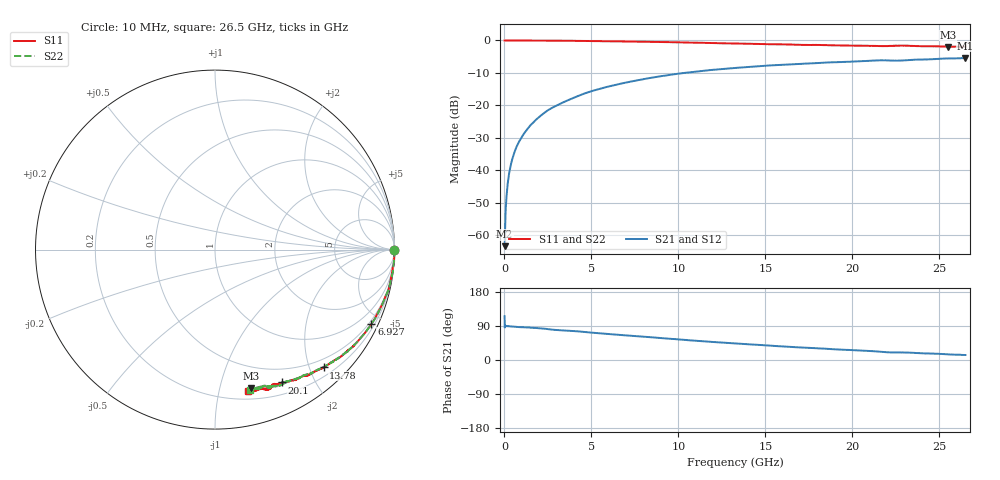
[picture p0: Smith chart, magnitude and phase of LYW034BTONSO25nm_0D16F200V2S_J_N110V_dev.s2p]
!Keysight Technologies,N5222B,MY61253708,A.15.00.15
!Date: Wednesday, June 19, 2024 09:44:08
!Correction: S11(C  2-Port  )
!S21(C  2-Port  )
!S12(C  2-Port  )
!S22(C  2-Port  )
!S2P File: Measurements: S11, S21, S12, S22:
# Hz S  RI  R 50
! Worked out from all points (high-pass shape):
!   2651 points, 10 MHz to 26.5 GHz, reference 50 ohm
!   highest |S21| = -5.39 dB at 26.5 GHz (marker M1); lowest = -63.4 dB at 10 MHz (marker M2)
!   |S21| within 3 dB of the highest: 13.45 GHz to end of sweep
!   lowest |S11| = -2.0 dB at 25.5 GHz (marker M3), VSWR 8.88, Z = 14.7 - j62.5 ohm
!   |S11| at or under -10 dB: nowhere
!   |S22| runs from -1.9 to 0.0 dB; largest |S21 - S12| = 0.0065
!   S11 on the Smith chart (normalised r, x): 10 MHz: open; 6.927 GHz: 0.36, -4.40; 13.78 GHz: 0.35, -2.24; 20.1 GHz: 0.33, -1.58; 26.5 GHz: 0.27, -1.22
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1e7  0.9988 -0.00248  -0.000291 0.000613  -0.00027 0.0002  0.9982 -0.00106
7.997358e7  1 -0.00575  -5.89e-06 0.00266  8e-06 0.00266  0.9994 -0.00533
1.599434e8  0.9999 -0.0114  6.1e-05 0.0053  6.72e-05 0.00533  0.9996 -0.0108
1.999283e8  1 -0.0136  0.000104 0.0066  9.86e-05 0.00666  0.9997 -0.013
2.699019e8  0.9998 -0.0184  0.000182 0.00899  0.000179 0.00897  0.9999 -0.0177
3.698642e8  0.9997 -0.0255  0.000345 0.0123  0.000337 0.0123  0.9992 -0.0247
4.998151e8  0.999 -0.0339  0.000564 0.0165  0.000578 0.0167  0.9992 -0.0328
6.597547e8  0.9984 -0.0437  0.000914 0.0217  0.000923 0.0219  0.9985 -0.0431
8.49683e8  0.9981 -0.0565  0.00153 0.0279  0.00157 0.0282  0.9979 -0.0564
1.459453e9  0.9907 -0.0981  0.00363 0.0482  0.00367 0.0485  0.993 -0.0945
2.339121e9  0.9819 -0.1521  0.0101 0.078  0.0103 0.0786  0.9828 -0.1528
3.208792e9  0.9707 -0.2076  0.0212 0.104  0.0214 0.1047  0.9704 -0.2073
4.428332e9  0.9425 -0.2805  0.0385 0.1416  0.039 0.1425  0.9438 -0.2784
6.927389e9  0.8715 -0.4146  0.094 0.2022  0.0953 0.2031  0.872 -0.4144
8.846664e9  0.8029 -0.502  0.1452 0.2366  0.1469 0.2373  0.8033 -0.5013
1.3255e10  0.6268 -0.642  0.2725 0.2606  0.275 0.2604  0.629 -0.6411
1.37848e10  0.6048 -0.6567  0.2873 0.2588  0.2891 0.2586  0.6075 -0.653
1.767333e10  0.4551 -0.7213  0.3787 0.2327  0.3822 0.2309  0.4636 -0.7187
2.010242e10  0.3742 -0.7403  0.4262 0.2064  0.4285 0.2042  0.3867 -0.7391
2.209166e10  0.3197 -0.7541  0.4612 0.1705  0.4631 0.1674  0.312 -0.7596
2.550038e10  0.2007 -0.772  0.5103 0.1339  0.5118 0.1332  0.2196 -0.7738
2.65e10  0.1813 -0.7859  0.5236 0.1227  0.5231 0.1187  0.1932 -0.7835
